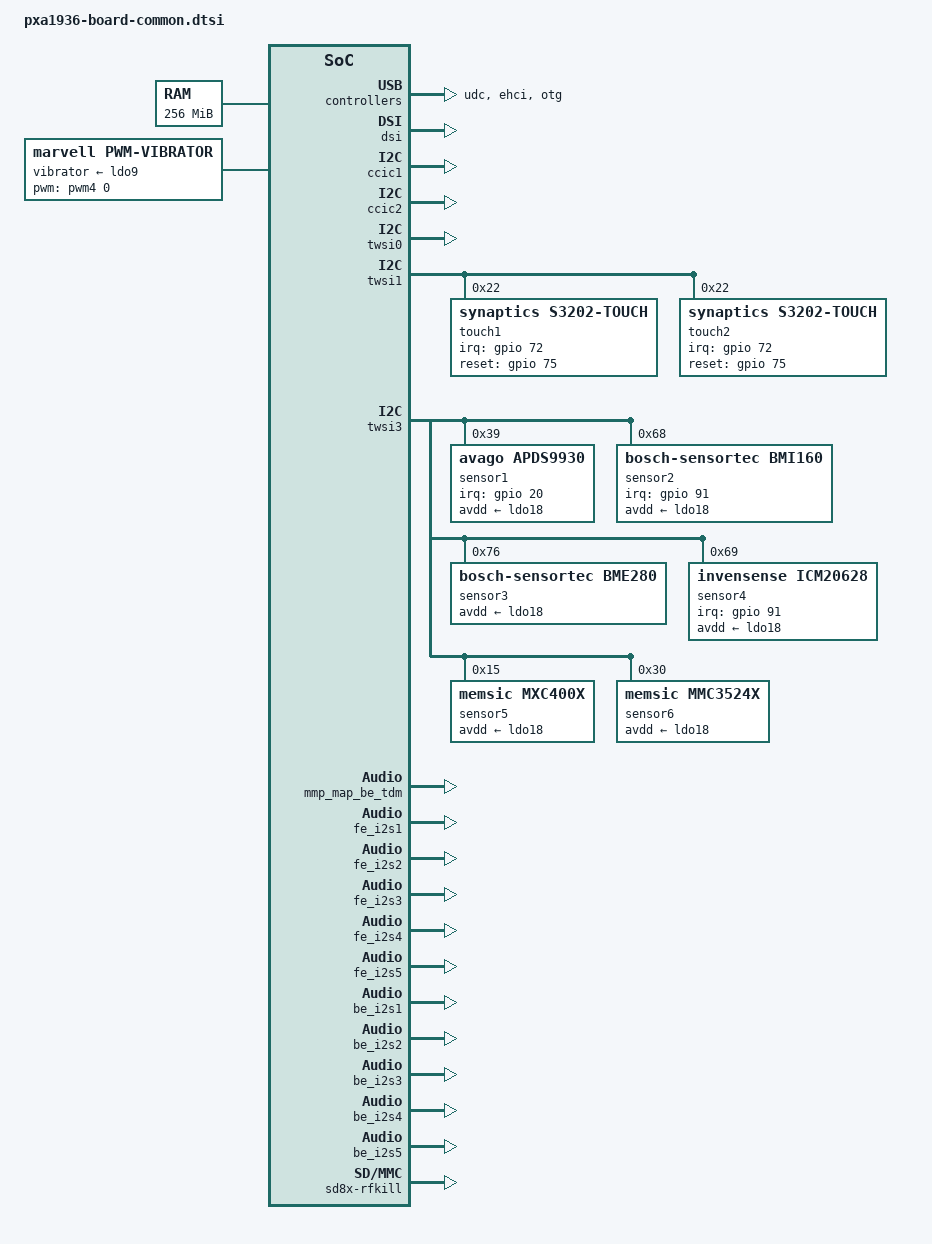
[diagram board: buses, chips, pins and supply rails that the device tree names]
/*
 *  Copyright (C) 2014 Marvell Technology Group Ltd.
 *  Author: Tim Wang <wangtt@marvell.com>
 *
 *  This program is free software; you can redistribute it and/or modify
 *  it under the terms of the GNU General Public License version 2 as
 *  publishhed by the Free Software Foundation.
 */

/memreserve/ 0x08100000 0x00040000;     /* ramoops buffer (256KB) */
/memreserve/ 0x09000000 0x01000000;	/* GPU Reserved mem (16MB) */
/memreserve/ 0x17000000 0x01800000;     /* Frame buffer (24MB) */
/memreserve/ 0x0a000000 0x00080000;     /* CM3 shared buffer(512KB) */
#include "pxa1936.dtsi"
#include "pxa1908-pinfunc.h"
#include <dt-bindings/mmc/pxa_sdhci.h>

/ {
	chosen {
		bootargs = "console=ttyS0,115200 root=/dev/nfs nfsroot=192.168.1.100:/nfsroot/ ip=192.168.1.101:192.168.1.100::255.255.255.0::eth0:on";
	};

	memory {
		reg = <0x00000000 0x10000000>;
	};

	soc {
		devfreq-ddr {
			status = "okay";
		};

		pd_display: pd_display@0xd4282800 {
			compatible = "marvell,power-domain-display-pxa1u88";
			reg = <0xd4282800 0x1000>;
			clocks = <&soc_clocks PXA1936_CLK_DISP_HCLK>,
				<&soc_clocks PXA1936_CLK_DSI_ESC>;
			clock-names = "LCDCIHCLK", "esc_clk";
		};

		smmu {  /* iommu in vpu */
			clocks = <&soc_clocks PXA1936_CLK_VPU>,
				<&soc_clocks PXA1936_CLK_VPUBUS>;
			clock-names = "VPUCLK", "VPUACLK";
			marvell,power-domain = <&pd_vpu>;
			status = "okay";
		};

		axi@d4200000 {  /* AXI */
			usbphy: usbphy@d4207000 {
				status = "okay";
			};

			udc: udc@d4208100 {
				status = "okay";
			};

			ehci: ehci@d4208100 {
				status = "okay";
			};

			otg: otg@d4208100 {
				status = "okay";
			};

			pd_gc: pd_gc@d4282800 {
				compatible = "marvell,power-domain-common-gc";
				reg = <0xd4282800 0x1000>;
				clocks = <&soc_clocks PXA1936_CLK_GC3D>;
				lpm-qos = <PM_QOS_CPUIDLE_BLOCK_DDR>;
			};

			pd_gc2d: pd_gc2d@d4282800 {
				compatible = "marvell,power-domain-common-gc2d";
				reg = <0xd4282800 0x1000>;
				clocks = <&soc_clocks PXA1936_CLK_GC2D>;
				lpm-qos = <PM_QOS_CPUIDLE_BLOCK_DDR>;
			};

			gpu: gpu@C0400000 {
				marvell,power-domain = <&pd_gc>;
				marvell,gpu-mem-base = <0x09000000>;
				marvell,gpu-mem-size = <0x1000000>;
				clocks = <&soc_clocks PXA1936_CLK_GC3D>,
					<&soc_clocks PXA1936_CLK_GCSH>,
					<&soc_clocks PXA1936_CLK_GCBUS>;
				clock-names = "GC3DFCLK", "GCSHCLK", "GC3DACLK";
				status = "okay";
			};

			gpu2d: gpu2d@d420c000 {
				marvell,power-domain = <&pd_gc2d>;
				clocks = <&soc_clocks PXA1936_CLK_GC2D>,
					<&soc_clocks PXA1936_CLK_GCBUS>;
				clock-names = "GC2DFCLK", "GC2DACLK";
				status = "okay";
			};

			pd_vpu: pd_vpu@d4282800 {
				compatible = "marvell,power-domain-common-vpu";
				reg = <0xd4282800 0x1000>;
				clocks = <&soc_clocks PXA1936_CLK_VPU>;
				lpm-qos = <PM_QOS_CPUIDLE_BLOCK_DDR>;
			};

			pd_smmu: pd_smmu@c0010000 {
				compatible = "marvell,power-domain-smmu-pxa1u88";
				reg = <0xc0010000 0x10000>;
				marvell,power-domain-parent = <&pd_vpu>;
				clocks = <&soc_clocks PXA1936_CLK_VPU>,
					<&soc_clocks PXA1936_CLK_VPUBUS>;
				clock-names = "VPUCLK", "VPUACLK";
			};

			coda7542: coda7542@d420d000 {
				marvell,sram-internal = <1>;
				marvell,nv21_support = <1>;
				marvell,power-domain = <&pd_smmu>;
				clocks = <&soc_clocks PXA1936_CLK_VPU>,
					<&soc_clocks PXA1936_CLK_VPUBUS>;
				clock-names = "VPUCLK", "VPUACLK";
				status = "okay";
			};

			devfreq-vpu {
				marvell,power-domain = <&pd_vpu>;
				status = "okay";
			};

			dsi: dsi@d420b800 {
				marvell,phy-name = "mmp_dsi1";
				marvell,plat-path-name = "mmp_pnpath";
				marvell,dsi-lanes = <4>;
				marvell,burst-mode = <2>;
				marvell,hbp-en;
				dsi_avdd-supply = <&buck3>;
				status = "okay";
			};

			asram: asram@d12a0000 {
				status = "okay";
			};

			adma0: adma@d128d800 {
				status = "okay";
			};

			adma1: adma@d128d900 {
				status = "okay";
			};

			ccic1: ccic@d420a000 {
				pinctrl-names = "default","twsi","sccb";
				pinctrl-0 = <&ccic1_pmx_func1>;
				pinctrl-1 = <&ccic1_pmx_func2>;
				pinctrl-2 = <&ccic1_pmx_func3>;
				interrupts = <0 42 0x4>;
				status = "okay";
			};

			ccic2: ccic@d420a800 {
				pinctrl-names = "default","twsi","sccb";
				pinctrl-0 = <&ccic2_pmx_func1>;
				pinctrl-1 = <&ccic2_pmx_func2>;
				pinctrl-2 = <&ccic2_pmx_func3>;
				/*ccic2 use ccic1 I2C pin on pxa1936dkb */
				sync_ccic1_pin;
				interrupts = <0 77 0x4>;
				status = "okay";
			};

			sc2mmu1: sc2mmu@d420F000 {
				interrupts = <0 15 0x4>;
				status = "okay";
			};

			b52isp: b52isp@0xC0200000 {
				interrupts = <0 11 0x4>;
				status = "okay";
			};

			vdma: vdma@d4209000 {
				marvell,vdma-num = <2>;
				marvell,vdma-axi = <0>;
				status = "okay";
				vdma1 {
					marvell,vdma-id = <0>;
					marvell,sram-size = <30720>;
					marvell,is_vid = <0>;
				};
				vdma2 {
					marvell,vdma-id = <2>;
					marvell,sram-size = <30720>;
					marvell,is_vid = <1>;
				};
			};

			disp: disp@d420b000 {
				pinctrl-names = "default";
				pinctrl-0 = <&disp_func>;
				marvell,disp-name = "disp_name";
				marvell,path-num = <1>;
				marvell,power-domain = <&pd_display>;
				clocks = <&soc_clocks PXA1936_CLK_DISP_HCLK>,
					<&soc_clocks PXA1936_CLK_PLL4VCO>,
					/* parent1-clk-tbl clk */
					<&soc_clocks PXA1936_CLK_DISP1>,
					<&soc_clocks PXA1936_CLK_DISP4>,
					/* parent2-clk-tbl clk */
					<&soc_clocks PXA1936_CLK_PLL1_624>,
					<&soc_clocks PXA1936_CLK_PLL1_832>,
					<&soc_clocks PXA1936_CLK_PLL1_499_EN>,
					<&soc_clocks PXA1936_CLK_PLL1_499>,
					<&soc_clocks PXA1936_CLK_PLL4>,
					<&soc_clocks PXA1936_CLK_PLL4VCODIV3>;
				clock-names = "LCDCIHCLK", "pll4_vco",
					/* parent1-clk-tbl clk */
					"disp1_clk", "dsipll_clk",
					/* parent2-clk-tbl clk */
					"pll1_624", "pll1_832", "pll1_499_en", "pll1_499", "pll4", "pll4_div3";
				status = "okay";
				path1 {
					marvell,path-name = "mmp_pnpath";
					marvell,overlay-num = <2>;
					marvell,overlay-table =<0>,<1>;
					marvell,output-type = <1>;
					marvell,path-config = <0x10>;
					marvell,link-config = <0x1>;
					disp_apmu {
						plat = <4>;
						apmu-reg = <0xd428284c>;
						clksrc-bit = <9>;
						parent1-clk-tbl = "disp1_clk", "dsipll_clk";
						parent2-clk-tbl = "pll1_624", "pll1_832", "pll1_499_en", "pll4", "pll4_div3";
					};
				};
			};

			fb0: fbbase {
				marvell,fb-name = "mmp-fb";
				marvell,path-name = "mmp_pnpath";
				marvell,overlay-id = <1>;
				marvell,default-pixfmt = <0x109>;
				marvell,buffer-num = <3>;
				marvell,fb-mem = <0x17000000>;
				status = "okay";
                        };

			fb1: fboverlay {
				marvell,fb-name = "mmp-fb-overlay";
				marvell,path-name = "mmp_pnpath";
				marvell,overlay-id = <0>;
				status = "okay";
			};

			/* eMMC */
			sdh2: sdh@d4281000 {
				pinctrl-names = "default", "fast";
				pinctrl-0 = <&sdh2_pmx_func1 &sdh2_pmx_func2>;
				pinctrl-1 = <&sdh2_pmx_func1_fast &sdh2_pmx_func2_fast>;
				bus-width = <8>;
				non-removable;
				marvell,sdh-pm-runtime-en;
				marvell,sdh-quirks = <(
						SDHCI_QUIRK_BROKEN_ADMA |
						SDHCI_QUIRK_BROKEN_CARD_DETECTION
						)>;
				marvell,sdh-quirks2 = <(
						SDHCI_QUIRK2_TUNING_ADMA_BROKEN |
						/* SDHCI_QUIRK2_BROKEN_HS200 | */
						SDHCI_QUIRK2_TIMEOUT_SHORT
						)>;
				marvell,sdh-host-caps = <(MMC_CAP_1_8V_DDR)>;
				marvell,sdh-host-caps2 = <(MMC_CAP2_DISABLE_BLK_ASYNC)>;
				marvell,sdh-flags = <(
						PXA_FLAG_NEW_RX_CFG_REG |
						PXA_FLAG_SD_8_BIT_CAPABLE_SLOT |
						PXA_FLAG_ENABLE_CLOCK_GATING |
						PXA_FLAG_TX_SEL_BUS_CLK
						)>;
		/* prop "sdh-dtr-data": <timing preset_rate src_rate tx_delay rx_delay sdclk_sel0 sdclk_sel1 fakeclk_en> */
				marvell,sdh-dtr-data = <PXA_MMC_TIMING_LEGACY PXA_SDH_DTR_26M PXA_SDH_DTR_52M 0 0 0 0 0>,
						<PXA_MMC_TIMING_MMC_HS PXA_SDH_DTR_52M PXA_SDH_DTR_104M 0 0 0 0 0>,
						<PXA_MMC_TIMING_UHS_DDR50 PXA_SDH_DTR_52M PXA_SDH_DTR_104M 0 0 0 0 0>,
						<PXA_MMC_TIMING_MMC_HS200 PXA_SDH_DTR_156M PXA_SDH_DTR_156M 0 0 3 0 0>,
						<PXA_MMC_TIMING_MAX PXA_SDH_DTR_PS_NONE PXA_SDH_DTR_104M 0 0 0 0 0>;
				marvell,sdh-tuning-win-limit = <100>;
				marvell,sdh-dvfs-levels = <1 7>; /* tuning from dvfs level 1 to 7 */
				marvell,sdh-tuning-mode = <PXA_SDH_TUNING_DVFS>;
				status = "okay";
			};

			/* SD card */
			sdh0: sdh@d4280000 {
				pinctrl-names = "default", "fast";
				pinctrl-0 = <&sdh0_pmx_func1 &sdh0_pmx_func2 &sdh0_pmx_func3>;
				pinctrl-1 = <&sdh0_pmx_func1 &sdh0_pmx_func2_fast &sdh0_pmx_func3_fast>;
				cd-gpios = <&gpio 92 0>;
				cd-inverted;
				bus-width = <4>;
				wp-inverted;
				marvell,sdh-pm-runtime-en;
				marvell,sdh-host-caps-disable = <(MMC_CAP_UHS_SDR104)>;
				marvell,sdh-quirks = <(
						SDHCI_QUIRK_INVERTED_WRITE_PROTECT |
						SDHCI_QUIRK_BROKEN_CARD_DETECTION
						)>;

				/* as HW design, only SD Card's host has AIB_MMC register */
				marvell,sdh-quirks2 = <(
						SDHCI_QUIRK2_SET_AIB_MMC |
						SDHCI_QUIRK2_TUNING_ADMA_BROKEN |
						SDHCI_QUIRK2_TIMEOUT_SHORT
						)>;
				marvell,sdh-flags = <(
						PXA_FLAG_NEW_RX_CFG_REG |
						PXA_FLAG_TX_SEL_BUS_CLK |
						PXA_FLAG_ENABLE_CLOCK_GATING
						)>;
		/* prop "sdh-dtr-data": <timing preset_rate src_rate tx_delay rx_delay sdclk_sel0 sdclk_sel1 fakeclk_en> */
				marvell,sdh-dtr-data = <PXA_MMC_TIMING_LEGACY PXA_SDH_DTR_26M PXA_SDH_DTR_52M 0 0 0 0 0>,
						<PXA_MMC_TIMING_SD_HS PXA_SDH_DTR_52M PXA_SDH_DTR_104M 0 0 0 0 0>,
						<PXA_MMC_TIMING_UHS_DDR50 PXA_SDH_DTR_52M PXA_SDH_DTR_104M 0 0 0 0 0>,
						<PXA_MMC_TIMING_UHS_SDR104 PXA_SDH_DTR_208M PXA_SDH_DTR_208M 0 0 3 0 0>,
						<PXA_MMC_TIMING_MAX PXA_SDH_DTR_PS_NONE PXA_SDH_DTR_104M 0 0 0 0 0>;
				marvell,sdh-tuning-win-limit = <120>;
				marvell,sdh-dvfs-levels = <1 7>; /* tuning from dvfs level 1 to 7 */
				marvell,sdh-tuning-mode = <PXA_SDH_TUNING_DVFS>;
				status = "okay";
			};

			/* SDIO */
			sdh1: sdh@d4280800 {
				pinctrl-names = "default", "fast", "sleep";
				pinctrl-0 = <&sdh1_pmx_func1 &sdh1_pmx_func2 &sdh1_pmx_func3 &sdh1_pmx_func4>;
				pinctrl-1 = <&sdh1_pmx_func1_fast &sdh1_pmx_func2_fast &sdh1_pmx_func3 &sdh1_pmx_func4>;
				pinctrl-2 = <&sdh1_pmx_edge_wakeup>;
				bus-width = <4>;
				marvell,sdh-pm-runtime-en;
				marvell,sdh-host-caps-disable = <(MMC_CAP_UHS_SDR104 | MMC_CAP_UHS_SDR50)>;
				marvell,sdh-quirks = <(SDHCI_QUIRK_BROKEN_CARD_DETECTION)>;
				marvell,sdh-quirks2 = <(SDHCI_QUIRK2_HOLDSUSPEND_AFTER_REQUEST |
						SDHCI_QUIRK2_FAKE_SDIO_IRQ_IN_UHS |
						SDHCI_QUIRK2_TUNING_ADMA_BROKEN |
						SDHCI_QUIRK2_TIMEOUT_SHORT
						)>;
				marvell,sdh-pm-caps = <(MMC_PM_KEEP_POWER)>;
				marvell,sdh-host-caps2 = <(MMC_CAP2_NO_VOLTAGE_SWITCH)>;
				marvell,sdh-flags = <(
						PXA_FLAG_NEW_RX_CFG_REG |
						PXA_FLAG_WAKEUP_HOST |
						PXA_FLAG_TX_SEL_BUS_CLK |
						PXA_FLAG_EN_PM_RUNTIME |
						PXA_FLAG_DISABLE_PROBE_CDSCAN
						)>;
		/* prop "sdh-dtr-data": <timing preset_rate src_rate tx_delay rx_delay sdclk_sel0 sdclk_sel1 fakeclk_en> */
				marvell,sdh-dtr-data = <PXA_MMC_TIMING_LEGACY PXA_SDH_DTR_26M PXA_SDH_DTR_52M 0 0 0 0 0>,
						<PXA_MMC_TIMING_SD_HS PXA_SDH_DTR_45M PXA_SDH_DTR_89M 0 0 0 0 0>,
						<PXA_MMC_TIMING_UHS_DDR50 PXA_SDH_DTR_52M PXA_SDH_DTR_104M 0 0 0 0 0>,
						<PXA_MMC_TIMING_UHS_SDR50 PXA_SDH_DTR_104M PXA_SDH_DTR_104M 0 0 0 0 0>,
						<PXA_MMC_TIMING_UHS_SDR104 PXA_SDH_DTR_208M PXA_SDH_DTR_208M 0 0 3 0 0>,
						<PXA_MMC_TIMING_MAX PXA_SDH_DTR_PS_NONE PXA_SDH_DTR_89M 0 0 0 0 0>;
				marvell,sdh-tuning-win-limit = <120>;
				marvell,sdh-dvfs-levels = <1 7>; /* tuning from dvfs level 1 to 7 */
				marvell,sdh-tuning-mode = <PXA_SDH_TUNING_DVFS>;
				status = "okay";
			};
		};

		apb@d4000000 {
			pdma0: pdma@d4000000 {
				status = "okay";
			};

			timer0: timer@d4014000 {
				status = "disabled";
			};

			timer1: timer@d4016000 {
				status = "disabled";
			};

			timer2: timer@d401f000 {
				status = "okay";
			};

			edgewakeup: edgewakeup@d4019800 {
				status = "okay";
			};

			uart0: uart@d4017000 {
				pinctrl-names = "default", "sleep";
				pinctrl-0 = <&uart0_pmx_func1 &uart0_pmx_func2>;
				pinctrl-1 = <&uart0_pmx_func1_sleep &uart0_pmx_func2>;
				edge-wakeup-gpio = <47>; /* GPIO47: UART rx pin */
			};

			thermal: thermal@d4013300 {
				status = "okay";
			};

			keypad: keypad@d4012000 {
				marvell,direct-keys;
				marvell,direct-key-low-active;
				marvell,keypad-lpm-mod;
				marvell,direct-key-count = <2>;
				marvell,direct-key-mask = <0xff>;
				marvell,direct-key-map = < 0x73
							   0x72>;
				marvell,debounce-interval = <30>;
				pinctrl-names = "default";
				pinctrl-0 = <&keypad_in_func>;
				status = "okay";
			};

			keypanic1 {
				compatible = "marvell,keyreset";
				/* 73- volume-up, 72- volume-down */
				keys-down = <0x73 0x72>;
				keyreset-need-panic;
				status = "okay";
				keyreset-press-msec = <2000>;
			};

			pmx: pinmux@d401e000 {
				/* pin base, nr pins & gpio function */
				pinctrl-single,gpio-range = <
					/*
					 * GPIO number is hardcoded for range at here.
					 * In gpio chip, GPIO number is not hardcoded for range.
					 * Since one gpio pin may be routed to multiple pins,
					 * define these gpio range in pxa910-dkb.dts not pxa910.dtsi.
					 */
					&range 55 55 0	/* GPIO0 ~ GPIO54 */
					&range 110 32 0 /* GPIO67 ~ GPIO98 */
					&range 52 1 0	/* GPIO124 */
				>;

				pinctrl-names = "default";
				pinctrl-0 = <&mfp_pins_group_0 &mfp_pins_group_1 &mfp_pins_group_2 &mfp_pins_group_3>;

				/*
				 * these unused pins have been pulled down external
				 * We can set them as PULL_FLOAT
				 *
				 * But in fact, these registers can be removed in the
				 * future, considering the cost down
				 *
				 * So we just set them as PULL_DOWN here
				 * (Suitable for external PULL_DOWN and FLOATING)
				 *
				 * after remove external registers, no change is need
				 */
				mfp_pins_group_0: mfp_pins_group_0 {
					pinctrl-single,pins = <
						DF_IO8 AF0
						DF_IO9 AF0
						DF_IO10 AF0
						DF_IO11 AF0
						DF_IO12 AF0
						DF_IO13 AF0
						DF_IO15 AF0
					>;
					DS_MEDIUM;PULL_DOWN;EDGE_NONE;LPM_NONE;
				};

				/*
				 * these unused pins have been pulled up external
				 * We can set them as PULL_FLOAT
				 *
				 * But in fact, these registers can be removed in the
				 * future, considering the cost down			 *
				 *
				 * So we just set them as PULL_UP here
				 * (Suitable for external PULL_UP and FLOATING)
				 *
				 * after remove external registers, no change is need
				 */
				mfp_pins_group_1: mfp_pins_group_1 {
					pinctrl-single,pins = <
						DF_IO14		AF0
						DF_nCS0_SM_nCS2	AF0
						DF_nCS1_SM_nCS3	AF0
						SM_nCS0		AF0
						SM_nCS1		AF0
						DF_WEn		AF1
						DF_REn		AF1
						DF_ALE_SM_WEn	AF1
						DF_RDY0		AF0
						DF_RDY1		AF0
						SM_BE0		AF1
						SM_BE1		AF1
						SM_ADV		AF0
						SM_ADVMUX	AF0
						SM_RDY_GPIO_3	AF0
					>;
					DS_MEDIUM;PULL_UP;EDGE_NONE;LPM_NONE;
				};

				/*
				 * GPIO2 power domain
				 * these pins not used on dkb and no PULL on HW
				 * so PULL_UP internal to avoid current leakage
				 * LPM_NONE to keep the setting during suspend
				 */
				mfp_pins_group_2: mfp_pins_group_2 {
					pinctrl-single,pins = <
						GPIO12 AF0
						GPIO13 AF0
						GPIO14 AF0
						GPIO15 AF0
						GPIO76 AF0
						GPIO78 AF0
					>;
					DS_MEDIUM;PULL_UP;EDGE_NONE;LPM_NONE;
				};

				/*
				 * VCC_IO_ANT power domain
				 * these pins not used on dkb and no PULL on HW
				 * so PULL_UP internal to avoid current leakage
				 * LPM_NONE to keep the setting during suspend
				 */
				mfp_pins_group_3: mfp_pins_group_3 {
					pinctrl-single,pins = <
						ANT_SW4 AF0
						PA_MODE AF0
						RF_CONF_4 AF0
					>;
					DS_MEDIUM;PULL_UP;EDGE_NONE;LPM_NONE;
				};

				uart0_pmx_func1: uart0_pmx_func1 {
					pinctrl-single,pins = <
						GPIO47 AF6
					>;
					MFP_DEFAULT;
				};

				uart0_pmx_func2: uart0_pmx_func2 {
					pinctrl-single,pins = <
						GPIO48 AF6
					>;
					MFP_DEFAULT;
				};

				uart0_pmx_func1_sleep: uart0_pmx_func1_sleep {
					pinctrl-single,pins = <
						GPIO47 AF6
					>;
					DS_MEDIUM;PULL_NONE;EDGE_BOTH;LPM_NONE;
				};
				pmic1_pins: pinmux_88pm830_pins {
					pinctrl-single,pins = <
						GPIO4   AF0
						GPIO19  AF0
						GPIO124 AF0
					>;
					MFP_DEFAULT;
				};

				pmic1_pins_sleep: pinmux_88pm830_pins_sleep {
					pinctrl-single,pins = <
						GPIO4 AF0
					>;
					DS_MEDIUM;PULL_NONE;EDGE_BOTH;LPM_NONE;
				};

				keypad_in_func: keypad_in_func {
					pinctrl-single,pins = <
						GPIO16 AF1	/* GPIO016_KP_DKIN1 */
						GPIO17 AF1	/* GPIO017_KP_DKIN2 */
					>;
					DS_MEDIUM;PULL_UP;EDGE_NONE;LPM_DRIVE_HIGH;
				};

				/* MFP_DEFAULT */
				sdh0_pmx_func1: sdh0_pmx_func1 {
					pinctrl-single,pins = <
						MMC1_DAT7 AF0
						MMC1_DAT6 AF0
						MMC1_DAT5 AF0
						MMC1_DAT4 AF0
						MMC1_WP AF1
						MMC1_CD AF1 /* Above pins not used by sdh1, configured as GPIO */
						GPIO92 AF0 /* GPIO92, used for sd card detect */
					>;
					MFP_DEFAULT;
				};

				/* no pull, no LPM */
				sdh0_pmx_func2: sdh0_pmx_func2 {
					pinctrl-single,pins = <
						MMC1_DAT3 AF0
						MMC1_DAT2 AF0
						MMC1_DAT1 AF0
						MMC1_DAT0 AF0
						MMC1_CMD AF0
					>;
					MFP_DEFAULT;
				};

				/* MFP_LPM_DRIVE_LOW */
				sdh0_pmx_func3: sdh0_pmx_func3 {
					pinctrl-single,pins = <
						MMC1_CLK AF0
					>;
					MFP_LPM_DRIVE_LOW;
				};

				/* ds fast, no pull, no LPM */
				sdh0_pmx_func2_fast: sdh0_pmx_func2_fast {
					pinctrl-single,pins = <
						MMC1_DAT3 AF0
						MMC1_DAT2 AF0
						MMC1_DAT1 AF0
						MMC1_DAT0 AF0
						MMC1_CMD AF0
					>;
					DS_FAST;PULL_NONE;EDGE_NONE;LPM_NONE;
				};

				/* ds fast, LPM_DRIVE_LOW */
				sdh0_pmx_func3_fast: sdh0_pmx_func3_fast {
					pinctrl-single,pins = <
						MMC1_CLK AF0
					>;
					DS_FAST;PULL_NONE;EDGE_NONE;LPM_DRIVE_LOW;
				};

				sdh1_pmx_func1_fast: sdh1_pmx_func1_fast {
						pinctrl-single,pins = <
							GPIO37 AF1
							GPIO38 AF1
							GPIO39 AF1
							GPIO40 AF1
							GPIO41 AF1
						>;
						DS_FAST;PULL_NONE;EDGE_NONE;LPM_NONE;
				};

				sdh1_pmx_func2_fast: sdh1_pmx_func2_fast {
						pinctrl-single,pins = <
							GPIO42 AF1
						>;
						DS_FAST;PULL_NONE;EDGE_NONE;LPM_DRIVE_LOW;
				};

				sdh1_pmx_func1: sdh1_pmx_func1 {
						pinctrl-single,pins = <
							GPIO37 AF1
							GPIO38 AF1
							GPIO39 AF1
							GPIO40 AF1
							GPIO41 AF1
						>;
						MFP_DEFAULT;
				};

				sdh1_pmx_func2: sdh1_pmx_func2 {
						pinctrl-single,pins = <
							GPIO42 AF1
						>;
						DS_SLOW0;PULL_NONE;EDGE_NONE;LPM_DRIVE_LOW;
				};

				sdh1_pmx_func3: sdh1_pmx_func3 {
						pinctrl-single,pins = <
							GPIO97 AF0
							GPIO71 AF0
						>;
						DS_MEDIUM;PULL_FLOAT;EDGE_NONE;LPM_NONE;
				};

				sdh1_pmx_func4: sdh1_pmx_func4 {
						pinctrl-single,pins = <
							GPIO8 AF0
							GPIO5 AF0
						>;
						DS_MEDIUM;PULL_DOWN;EDGE_NONE;LPM_NONE;
				};

				sdh1_pmx_edge_wakeup: sdh1_pmx_edge_wakeup {
						pinctrl-single,pins = <
							GPIO39 AF1
						>;
						DS_MEDIUM;PULL_NONE;EDGE_BOTH;LPM_NONE;
				};

				/* no pull, no LPM */
				sdh2_pmx_func1: sdh2_pmx_func1 {
					pinctrl-single,pins = <
						ND_IO7 AF1
						ND_IO6 AF1
						ND_IO5 AF1
						ND_IO4 AF1
						ND_IO3 AF1
						ND_IO2 AF1
						ND_IO1 AF1
						ND_IO0 AF1
						ND_CLE_SM_OEN AF1
					>;
					MFP_DEFAULT;
				};

				/* MFP_LPM_DRIVE_LOW */
				sdh2_pmx_func2: sdh2_pmx_func2 {
					pinctrl-single,pins = <
						SM_SCLK AF1
					>;
					MFP_LPM_DRIVE_LOW;
				};

				/* ds fast, no pull, no LPM */
				sdh2_pmx_func1_fast: sdh2_pmx_func1_fast {
					pinctrl-single,pins = <
						ND_IO7 AF1
						ND_IO6 AF1
						ND_IO5 AF1
						ND_IO4 AF1
						ND_IO3 AF1
						ND_IO2 AF1
						ND_IO1 AF1
						ND_IO0 AF1
						ND_CLE_SM_OEN AF1
					>;
					DS_FAST;PULL_NONE;EDGE_NONE;LPM_NONE;
				};

				/* ds fast, LPM_DRIVE_LOW */
				sdh2_pmx_func2_fast: sdh2_pmx_func2_fast {
					pinctrl-single,pins = <
						SM_SCLK AF1
					>;
					DS_FAST;PULL_NONE;EDGE_NONE;LPM_DRIVE_LOW;
				};

				sspa0_gpio: sspa0_gpio {
					pinctrl-single,pins = <
						GPIO21 AF0
						GPIO22 AF0
						GPIO23 AF0
						GPIO24 AF0
					>;
					DS_MEDIUM;PULL_NONE;EDGE_NONE;LPM_FLOAT;
				};
				sspa0_func: sspa0_func {
					pinctrl-single,pins = <
						GPIO21 AF7
						GPIO22 AF7
						GPIO23 AF7
						GPIO24 AF7
					>;
					DS_MEDIUM;PULL_NONE;EDGE_NONE;LPM_NONE;
				};
				sspa1_func: sspa1_func {
					pinctrl-single,pins = <
						GPIO25 AF7
						GPIO26 AF7
						GPIO27 AF7
						GPIO28 AF7
					>;
					DS_MEDIUM;PULL_NONE;EDGE_NONE;LPM_NONE;
				};

				disp_func: disp_func {
					pinctrl-single,pins = <
						GPIO98 AF0
						GPIO96 AF0
						GPIO32 AF0
					>;
					MFP_LPM_PULL_DW;
				};

				twsi0_pmx_func: twsi0_pmx_func {
					/* gpio53/54: AF2 */
					pinctrl-single,pins = <
						GPIO53 AF2
						GPIO54 AF2
					>;
					MFP_LPM_FLOAT;
				};
				twsi0_pmx_gpio: twsi0_pmx_gpio {
					pinctrl-single,pins = <
						GPIO53 AF0
						GPIO54 AF0
					>;
					MFP_LPM_FLOAT;
				};
				twsi1_pmx_func: twsi1_pmx_func {
					/* gpio87/88: AF5 */
					pinctrl-single,pins = <
						GPIO87 AF5
						GPIO88 AF5
					>;
					MFP_LPM_FLOAT;
				};
				twsi1_pmx_gpio: twsi1_pmx_gpio {
					pinctrl-single,pins = <
						GPIO87 AF0
						GPIO88 AF0
					>;
					MFP_LPM_FLOAT;
				};
				twsi3_pmx_func: twsi3_pmx_func {
					/* gpio73/74: AF5 */
					pinctrl-single,pins = <
						GPIO73 AF5
						GPIO74 AF5
					>;
					MFP_LPM_FLOAT;
				};
				twsi3_pmx_gpio: twsi3_pmx_gpio {
					pinctrl-single,pins = <
						GPIO73 AF0
						GPIO74 AF0
					>;
					MFP_LPM_FLOAT;
				};
				twsi3_pmx_senhb: twsi3_pmx_senhb {
					pinctrl-single,pins = <
						GPIO73 AF7
						GPIO74 AF7
					>;
					MFP_DEFAULT;
				};
				twsi3_pmx_senhb_def: twsi3_pmx_senhb_def {
					pinctrl-single,pins = <
						GPIO73 AF7
						GPIO74 AF7
					>;
					MFP_LPM_FLOAT;
				};

				touch_pins: touch_pins {
					pinctrl-single,pins = <
						GPIO72 0x0
						GPIO75 0x0
					>;
					MFP_LPM_FLOAT;
				};

				gnss_pmx_def: gnss_pmx_def {
					pinctrl-single,pins = <
						GPIO81 AF0
						GPIO82 AF0
						GPIO83 AF0
						GPIO84 AF0
						GPIO85 AF0
					>;
					MFP_LPM_PULL_DW;
				};

				gnss_pmx_power_on: gnss_pmx_power_on {
					pinctrl-single,pins = <
						GPIO81 AF6
						GPIO82 AF6
						GPIO83 AF6
						GPIO84 AF6
						GPIO85 AF6
					>;
					MFP_DEFAULT;
				};

				senhb_irq_pins_def: senhb_irq_pins_def {
					pinctrl-single,pins = <
						GPIO11 AF0
						GPIO10 AF0
						GPIO91 AF3
					>;
					MFP_DEFAULT;
				};

				dvc_pmx_func: dvc_pmx_func {
					pinctrl-single,pins = <
						GPIO93 AF5
						GPIO94 AF5
						GPIO95 AF5
					>;
					MFP_DEFAULT;
				};

				ccic1_pmx_func1: ccic1_pmx_func1 {
					pinctrl-single,pins = <
						GPIO77 AF1
						GPIO67 AF0
						GPIO68 AF0
					>;
					MFP_PULL_DOWN;
				};

				ccic1_pmx_func3: ccic1_pmx_func3 {
					pinctrl-single,pins = <
						GPIO77 AF1
						GPIO53 AF7
						GPIO54 AF7
					/*	GPIO67 AF5
						GPIO68 AF5 */
					>;
					MFP_LPM_FLOAT;
				};

				ccic1_pmx_func2: ccic1_pmx_func2 {
					pinctrl-single,pins = <
						GPIO77 AF1
						GPIO53 AF2
						GPIO54 AF2
						GPIO67 AF0
						GPIO68 AF0
					>;
					MFP_PULL_DOWN;
				};

				ccic2_pmx_func1: ccic2_pmx_func1 {
					pinctrl-single,pins = <
						GPIO69 AF0
						GPIO70 AF0
					>;
					MFP_PULL_DOWN;
				};

				ccic2_pmx_func2: ccic2_pmx_func2 {
					pinctrl-single,pins = <
						/*
						GPIO51 AF7
						GPIO52 AF7
						*/
						GPIO69 AF0
						GPIO70 AF0
					>;
					MFP_LPM_FLOAT;
				};

				ccic2_pmx_func3: cic2_pmx_func3 {
					pinctrl-single,pins = <
						GPIO69 AF0
						GPIO70 AF0
					>;
					MFP_DEFAULT;
				};

			};

			coresight: coresight@d4100000 {
				status = "okay";
			};

			twsi0: i2c@d4011000 {
				status = "okay";
			};

			twsi1: i2c@d4010800 {
				pinctrl-names = "default","gpio";
				pinctrl-0 = <&twsi1_pmx_func>;
				pinctrl-1 = <&twsi1_pmx_gpio>;
				i2c-gpio = <&gpio 87 0 &gpio 88 0>;
				status = "okay";

				touch1: s3202@720p {
					compatible = "synaptics,s3202-touch";
					pinctrl-names = "default"; pinctrl-0 = <&touch_pins>;
					reg = <0x22>;
					interrupt-parent = <&gpio>;
					interrupts = <72 0x1>;
					/* IRQF_ONESHOT | IRQF_TRIGGER_FALLING */
					synaptics,irq-flags =  <0x2002>;
					synaptics,irq-gpios = <&gpio 72 0>;
					synaptics,reset-gpios = <&gpio 75 0>;
					synaptics,sensor_res_x = <720>;
					synaptics,sensor_res_y = <1280>;
					synaptics,sensor_max_x = <798>;
					synaptics,sensor_max_y = <1392>;
					synaptics,sensor_margin_x = <39>;
					synaptics,sensor_margin_y = <0>;
				};

				touch2: s3202@1080p {
					compatible = "synaptics,s3202-touch";
					pinctrl-names = "default"; pinctrl-0 = <&touch_pins>;
					reg = <0x22>;
					interrupt-parent = <&gpio>;
					interrupts = <72 0x1>;
					/* IRQF_ONESHOT | IRQF_TRIGGER_FALLING */
					synaptics,irq-flags =  <0x2002>;
					synaptics,irq-gpios = <&gpio 72 0>;
					synaptics,reset-gpios = <&gpio 75 0>;
					synaptics,sensor_res_x = <1080>;
					synaptics,sensor_res_y = <1920>;
					synaptics,sensor_max_x = <1080>;
					synaptics,sensor_max_y = <2070>;
					synaptics,sensor_margin_x = <0>;
					synaptics,sensor_margin_y = <0>;
				};
			};

			twsi3: i2c@d4013800 {
				pinctrl-names = "default", "gpio";
				pinctrl-0 = <&twsi3_pmx_func>;
				pinctrl-1 = <&twsi3_pmx_gpio>;
				i2c-gpio = <&gpio 73 0 &gpio 74 0>;
				status = "okay";

				sensor1: apds9930@39 {
						 compatible = "avago,apds9930";
						 reg = <0x39>;
						 interrupt-parent = <&gpio>;
						 interrupts = <20 0x1>;
						 irq-gpios = <&gpio 20 0>;
						 avdd-supply = <&ldo18>;
				};

				sensor2: bmi160@68 {
						 compatible = "bosch-sensortec,bmi160";
						 reg = <0x68>;
						 interrupt-parent = <&gpio>;
						 interrupts = <91 0x1>;
						 irq-gpios = <&gpio 91 0>;
						 avdd-supply = <&ldo18>;
						 bmi160-place = <2>;
				};

				sensor3: bme280@76 {
						 compatible = "bosch-sensortec,bme280";
						 reg = <0x76>;
						 avdd-supply = <&ldo18>;
				};
				sensor4: icm20628@69 {
						compatible = "invensense,icm20628";
						reg = <0x69>;
						interrupt-parent = <&gpio>;
						interrupts = <91 0x1>;
						inven,irq-gpios = <&gpio 91 0x00>;
						avdd-supply = <&ldo18>;
						axis_map_x = <1>;
						negate_x = <0>;
						axis_map_y = <0>;
						negate_y = <1>;
						axis_map_z = <2>;
						negate_z = <1>;
						inven,secondary_axis_map_x = <1>;
						inven,secondary_negate_x = <0>;
						inven,secondary_axis_map_y = <0>;
						inven,secondary_negate_y = <0>;
						inven,secondary_axis_map_z = <2>;
						inven,secondary_negate_z = <1>;
						inven,secondary_type = "compass";
						inven,secondary_name = "ak09912";
						inven,secondary_reg = <0x0D>;
				};
				sensor5: mxc400x@15 {
					compatible = "memsic,mxc400x";
					reg = <0x15>;
					avdd-supply = <&ldo18>;
				};
				sensor6: mmc3524x@30 {
					compatible = "memsic,mmc3524x";
					reg = <0x30>;
					avdd-supply = <&ldo18>;
				};
			};

			/* SSPA port 0 */
			sspa0: sspa@d128dc00 {
				pinctrl-names = "default";
				pinctrl-0 = <&sspa0_func>;
				playback_period_bytes = <4096>;
				playback_buffer_bytes = <12288>;
				capture_period_bytes = <4096>;
				capture_buffer_bytes = <8192>;
				burst_size = <4>;
				#dailink-cells = <1>;
				status = "okay";
			};

			/* SSPA port 1 */
			sspa1: sspa@d128dd00 {
				pinctrl-names = "default";
				pinctrl-0 = <&sspa1_func>;
				playback_period_bytes = <16384>;
				playback_buffer_bytes = <32768>;
				capture_period_bytes = <4096>;
				capture_buffer_bytes = <8192>;
				burst_size = <4>;
				#dailink-cells = <1>;
				status = "okay";
			};

			map: map@d1200000 {
				marvell,b0_fix;
				marvell,apll = <0>;
				lpm-qos = <PM_QOS_CPUIDLE_BLOCK_UDR>;
				status = "okay";
				sleep_vol = <975000>;
				mmp_map_codec: mmp_map_codec {
					compatible = "marvell,mmp-map-codec";
					#dailink-cells = <1>;
					sleep_vol = <975000>;
				};
				mmp_map_be: mmp_map_be {
					compatible = "marvell,mmp-map-be";
					#dailink-cells = <1>;
				};
				mmp_map_be_tdm: mmp_map_be_tdm {
					compatible = "marvell,mmp-map-be-tdm";
					#dailink-cells = <1>;
				};
			};

			acipc: acipc@d401d000 {
				status = "okay";
			};

			seh: seh@d4080000 {
				status = "okay";
			};

			cp-load {
				status = "okay";
			};
		};

		/*
		 * ramoops:
		 * 256 KB memory starts at 0x8100000
		 * pstore dump: 2 chunks, total 64 KB, 32 KB each
		 * console size: 192 KB
		 * no dump_oops
		 */
		ramoops {
			compatible = "pstore,ramoops";
			mem-size = <0x40000>;
			mem-address = <0x8100000>;
			record-size = <0x8000>;
			console-size = <0x30000>;
			dump-oops = <0>;
			status = "okay";
		};
	};

	mmp_pcm_hostless: mmp_pcm_hostless {
		bus_number = <0>;
		compatible = "marvell,mmp-pcm-hostless";
		#dailink-cells = <1>;
		status = "okay";
	};

	snd_soc_dummy: snd_soc_dummy {
		compatible = "snd-soc-dummy";
		#dailink-cells = <1>;
		status = "okay";
	};

	sound {
		compatible = "marvell,map-card";
		map,dapm-route =
			"ADC input1", "TDM_MIC1_CAP",
			"ADC input2", "TDM_MIC2_CAP",
			"ADC input3", "BT_VC_UL",
			"TDM_OUT1_PLAYBACK", "DAC1 output out1",
			"TDM_OUT2_PLAYBACK", "DAC2 output out2",
			"BT_VC_DL", "i2s3_bt_vc";
		fe_i2s1: fe_i2s1 {
			compatible = "marvell,map-dailink-1";
			dai-name = "MAP I2S1 audio";
			stream-name = "map i2s1";
			marvell,cpu-dai = <&sspa0 0>;
			marvell,codec-dai = <&mmp_map_codec 1>;
		};
		fe_i2s2: fe_i2s2 {
			compatible = "marvell,map-dailink-1";
			dai-name = "MAP I2S4 audio";
			stream-name = "map i2s4";
			marvell,cpu-dai = <&sspa1 1>;
			marvell,codec-dai = <&mmp_map_codec 4>;
		};
		fe_i2s3: fe_i2s3 {
			compatible = "marvell,map-dailink-2";
			dai-name = "MAP I2S2 audio";
			stream-name = "map i2s2";
			marvell,cpu-dai = <&mmp_pcm_hostless 0>;
			marvell,codec-dai = <&mmp_map_codec 2>;
			marvell,dai-no-host-mode;
		};
		fe_i2s4: fe_i2s4 {
			compatible = "marvell,map-dailink-7";
			dai-name = "MAP I2S3 audio";
			stream-name = "map i2s3";
			marvell,cpu-dai = <&mmp_pcm_hostless 1>;
			marvell,codec-dai = <&mmp_map_codec 3>;
			marvell,dai-no-host-mode;
		};
		fe_i2s5: fe_i2s5 {
			compatible = "marvell,map-dailink-2";
			dai-name = "MAP I2S5 audio";
			stream-name = "map i2s5";
			marvell,cpu-dai = <&mmp_pcm_hostless 2>;
			marvell,codec-dai = <&mmp_map_codec 5>;
			marvell,dai-dynamic;
			marvell,dai-no-host-mode;
		};
		be_i2s1: be_i2s1 {
			compatible = "marvell,map-dailink-3";
			dai-name = "MAP AUXI2S audio";
			stream-name = "BT audio";
			marvell,cpu-dai = <&mmp_map_be 1>;
			marvell,codec-dai = <&snd_soc_dummy 0>;
			marvell,codec-name = "snd-soc-dummy";
			marvell,codec-dai-name = "snd-soc-dummy-dai";
			marvell,dai-no-pcm;
			marvell,dai-fixup = <0>;
		};
		be_i2s2: be_i2s2 {
			compatible = "marvell,map-dailink-6";
			dai-name = "MAP TDM hs audio";
			stream-name = "codec hs audio";
			marvell,cpu-dai = <&mmp_map_be_tdm 2>;
			marvell,codec-dai = <&pm860_codec 3>;
			marvell,playback-only;
			marvell,dai-no-pcm;
			marvell,dai-fixup = <1>;
		};
		be_i2s3: be_i2s3 {
			compatible = "marvell,map-dailink-4";
			dai-name = "MAP TDM speaker audio";
			stream-name = "codec speaker audio";
			marvell,cpu-dai = <&mmp_map_be_tdm 1>;
			marvell,codec-dai = <&pm860_codec 4>;
			marvell,playback-only;
			marvell,dai-no-pcm;
			marvell,dai-fixup = <1>;
		};
		be_i2s4: be_i2s4 {
			compatible = "marvell,map-dailink-5";
			dai-name = "MAP TDM mic1 audio";
			stream-name = "codec mic1 audio";
			marvell,cpu-dai = <&mmp_map_be_tdm 3>;
			marvell,codec-dai = <&pm860_codec 1>;
			marvell,capture-only;
			marvell,dai-no-pcm;
		};
		be_i2s5: be_i2s5 {
			compatible = "marvell,map-dailink-5";
			dai-name = "MAP TDM mic2 audio";
			stream-name = "codec mic2 audio";
			marvell,cpu-dai = <&mmp_map_be_tdm 4>;
			marvell,codec-dai = <&pm860_codec 2>;
			marvell,capture-only;
			marvell,dai-no-pcm;
		};
	};

	ion {
		marvell,ion-nr = <2>;
		status = "okay";
		marvell,ion-iommu = <1>;
		marvell,power-domain = <&pd_smmu>;
		heap1 {
			marvell,ion-name = "carveout_heap";
			marvell,ion-type = <2>;
			marvell,ion-id = <2>;
			marvell,ion-base = <0>;
			marvell,ion-size = <0>;
		};
		heap2 {
			marvell,ion-name = "system_heap";
			marvell,ion-type = <0>;
			marvell,ion-id = <0>;
		};
	};

	vibrator {
		compatible = "marvell,pwm-vibrator";
		pwms = <&pwm4 0 1000>;
		min_timeout = <0>;
		duty_cycle = <800>;
		vibrator-supply = <&ldo9>;
	};

	panel1: r63311 {
		compatible = "marvell,mmp-r63311";
		marvell,path-name = "mmp_pnpath";
		status = "okay";
	};

	panel2: hx8394 {
		compatible = "marvell,mmp-hx8394";
		marvell,path-name = "mmp_pnpath";
		panel_esd = <0>;
		status = "okay";
	};

	panel3: lg4591 {
		compatible = "marvell,mmp-lg4591";
		marvell,path-name = "mmp_pnpath";
		status = "okay";
	};

	sd8x-rfkill {
		sd-host = <&sdh1>;
		pd-gpio = <&gpio 97 0>;
		rst-gpio = <&gpio 71 0>;
		wib_1v8-supply = <&buck2>;
		wib_3v3-supply = <&buck5>;
		edge-wakeup-gpio = <&gpio 39 0>;
		marvell,sdh-tuning-dvfs;
		marvell,sdh-edge-wakeup-register-once;
		status = "okay";
	};

	sd8xxx-wlan {
		drv_mode = <0x5>;
		cfg80211_wext = <0xc>;
		sta_name = "wlan";
		wfd_name = "p2p";
		max_vir_bss = <1>;
		drvdbg = <0x80007>;
		dev_cap_mask = <0xffffcfff>;
		init_cfg = "mrvl/wifi_init_cfg.conf";
		reg_alpha2 = "US";
		p2p_enh = <1>;
	};

	sd8xxx-bt {
		init_cfg = "mrvl/bt_init_cfg.conf";
	};

	mmp_m3_1: apsenhb {
		compatible = "marvell,mmp-m3";
		/* 975000 for CM3 on, 700000 for CM3 off */
		vccmain = <975000 700000>;

		pinctrl-names = "default", "poweron";
		pinctrl-0 = <&gnss_pmx_def>;
		pinctrl-1 = <&gnss_pmx_power_on>;
		status = "okay";
	};

	mmp_m3_2: cm3senhb {
		compatible = "marvell,mmp-m3";
		/* 975000 for CM3 on, 700000 for CM3 off */
		vccmain = <975000 700000>;
		pinctrl-names = "default", "poweron";
		pinctrl-0 = <&gnss_pmx_def &twsi3_pmx_senhb_def &senhb_irq_pins_def>;
		pinctrl-1 = <&gnss_pmx_power_on &twsi3_pmx_senhb>;
		status = "okay";
	};

	tzdd {
		status = "okay";
	};

	dip {
		compatible = "marvell,simple-dip";
		clocks = <&soc_clocks PXA1936_CLK_CLST0>,
				<&soc_clocks PXA1936_CLK_CLST1>,
				<&soc_clocks PXA1936_CLK_DDR>;
		clock-names = "clst0", "clst1", "ddr";
	};

	iml: iml@7ffffe0{
		status = "okay";
	};
};
